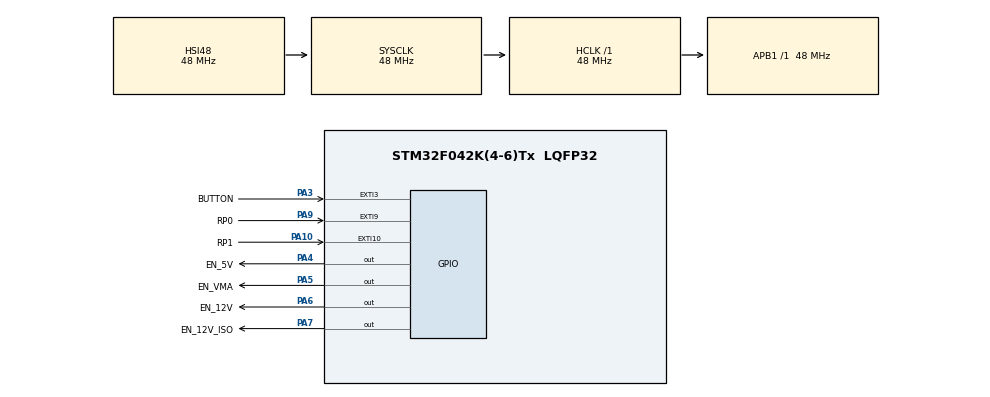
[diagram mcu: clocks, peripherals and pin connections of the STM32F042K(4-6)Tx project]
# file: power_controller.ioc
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Mcu.Family=STM32F0
Mcu.Name=STM32F042K(4-6)Tx
Mcu.Package=LQFP32
NVIC.EXTI2_3_IRQn=true\:0\:0\:false\:false\:true\:true\:true\:true
PA10.GPIO_Label=RP1
PA10.Signal=GPXTI10
PA13.Mode=Serial_Wire
PA13.Signal=SYS_SWDIO
PA14.Mode=Serial_Wire
PA14.Signal=SYS_SWCLK
PA3.GPIO_Label=BUTTON
PA3.Signal=GPXTI3
PA4.GPIO_Label=EN_5V
PA4.Signal=GPIO_Output
PA5.GPIO_Label=EN_VMA
PA5.Signal=GPIO_Output
PA6.GPIO_Label=EN_12V
PA6.Signal=GPIO_Output
PA7.GPIO_Label=EN_12V_ISO
PA7.Signal=GPIO_Output
PA9.GPIO_Label=RP0
PA9.Signal=GPXTI9
PF0-OSC_IN.Mode=HSE-External-Oscillator
PF0-OSC_IN.Signal=RCC_OSC_IN
PF1-OSC_OUT.Mode=HSE-External-Oscillator
PF1-OSC_OUT.Signal=RCC_OSC_OUT
ProjectManager.HeapSize=0x200
ProjectManager.StackSize=0x400
ProjectManager.TargetToolchain=STM32CubeIDE
RCC.AHBFreq_Value=48000000
RCC.APB1Freq_Value=48000000
RCC.APB1TimFreq_Value=48000000
RCC.HCLKFreq_Value=48000000
RCC.PLLSourceVirtual=RCC_PLLSOURCE_HSE
RCC.SYSCLKFreq_VALUE=48000000
RCC.SYSCLKSource=RCC_SYSCLKSOURCE_HSI48
board=custom

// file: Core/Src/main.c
/* USER CODE BEGIN Header */
/**
  ******************************************************************************
  * @file           : main.c
  * @brief          : Main program body
  ******************************************************************************
  * @attention
  *
  * Copyright (c) 2023 STMicroelectronics.
  * All rights reserved.
  *
  * This software is licensed under terms that can be found in the LICENSE file
  * in the root directory of this software component.
  * If no LICENSE file comes with this software, it is provided AS-IS.
  *
  ******************************************************************************
  */
/* USER CODE END Header */
#include "main.h"

/* USER CODE BEGIN Includes */
#include <stdbool.h>
/* USER CODE END Includes */

/* USER CODE BEGIN PV */
 bool button_flag = false;
/* USER CODE END PV */

void SystemClock_Config(void);
static void MX_GPIO_Init(void);
/* USER CODE BEGIN PFP */
void Power_State_Machine(void);
/* USER CODE END PFP */

/* USER CODE BEGIN 0 */
//struct states{
//static const uint8_t STATE_1; // default state, all peripheral is off except thrusters controller
//static const uint8_t STATE_2; // 5V and 22V ENABLE
//static const uint8_t STATE_3; // 12V ENABLE
//static const uint8_t STATE_4; // 22V ENABLE
//static const uint8_t STATE_5; // RESET (go to STATE_1 for 5s then return to previous state
//};
/* USER CODE END 0 */

int main(void)
{

  /* MCU Configuration--------------------------------------------------------*/

  /* Reset of all peripherals, Initializes the Flash interface and the Systick. */
  HAL_Init();

  /* Configure the system clock */
  SystemClock_Config();

  /* Initialize all configured peripherals */
  MX_GPIO_Init();

  /* Infinite loop */
  while (1)
  {
	 // HAL_GPIO_WritePin(GPIOA,EN_VMA_Pin, GPIO_PIN_SET);
	  HAL_GPIO_WritePin(GPIOA,EN_5V_Pin, GPIO_PIN_SET);

    /* USER CODE BEGIN 3 */
	  HAL_UART_Receive(&huart2, (uint8_t*)bufferRx, 6, 10); //принимаем сообщение
	        if((bufferRx[0] == 0xff) && (bufferRx[1] == 0xfD))
	       	  rxFlag = 1;
	        while(bufferRx[0]!= 0xff || bufferRx[1]!= 0xfD){ //проверяем соответсвует ли посылка
	        			HAL_UART_Receive(&huart2, (uint8_t*)bufferRx, 6, 10);//принимаем сообщение еще раз
	        		}

	  	//  if (huart2.RxXferCount == 0){
	  	  if(rxFlag){

	  		  rxFlag = 0;
	  		  if(check_crc(bufferRx, MAX_SIZE)){ //если crc совпало

	  			  data[0] =  (bufferRx[3] << 8) | (bufferRx[2] & 0xff);
	  			  switch(data[0]){
	  			  case 0:
	  				  break;
	  			  case 1:
	  				  HAL_GPIO_WritePin(GPIOA, EN_5V_Pin, GPIO_PIN_SET);
	  				  break;
	  			  case 2:
	  				  HAL_GPIO_WritePin(GPIOA, EN_5V_Pin, GPIO_PIN_SET);
	  				  HAL_GPIO_WritePin(GPIOA, EN_12V_Pin, GPIO_PIN_SET);
	  				  HAL_GPIO_WritePin(GPIOA, EN_12V_ISO_Pin, GPIO_PIN_SET);
	  				  break;
	  			  case 3:
	  				  HAL_GPIO_WritePin(GPIOA, EN_5V_Pin, GPIO_PIN_SET);
	  				  HAL_GPIO_WritePin(GPIOA, EN_12V_Pin, GPIO_PIN_SET);
	  				  HAL_GPIO_WritePin(GPIOA, EN_12V_ISO_Pin, GPIO_PIN_SET);
	  				  HAL_GPIO_WritePin(GPIOA, EN_VMA_Pin, GPIO_PIN_SET);
	  				  break;
	  			  case 4:
	  				  HAL_GPIO_WritePin(GPIOA, EN_5V_Pin, GPIO_PIN_RESET);
	  				  HAL_GPIO_WritePin(GPIOA, EN_12V_Pin, GPIO_PIN_RESET);
	  				  HAL_GPIO_WritePin(GPIOA, EN_12V_ISO_Pin, GPIO_PIN_RESET);
	  				  HAL_GPIO_WritePin(GPIOA, EN_VMA_Pin, GPIO_PIN_RESET);
	  				  break;
	  			  }

	  		  }
	  		  else{
	  			//  HAL_GPIO_WritePin(LD8_GPIO_Port, LD8_Pin, GPIO_PIN_RESET); //индикация о ошибке приема
	  		  }

	  	  }

	    }
  /* USER CODE END 3 */
}

void SystemClock_Config(void)
{
  RCC_OscInitTypeDef RCC_OscInitStruct = {0};
  RCC_ClkInitTypeDef RCC_ClkInitStruct = {0};

  /** Initializes the RCC Oscillators according to the specified parameters
  * in the RCC_OscInitTypeDef structure.
  */
  RCC_OscInitStruct.OscillatorType = RCC_OSCILLATORTYPE_HSI48;
  RCC_OscInitStruct.HSI48State = RCC_HSI48_ON;
  RCC_OscInitStruct.PLL.PLLState = RCC_PLL_NONE;
  if (HAL_RCC_OscConfig(&RCC_OscInitStruct) != HAL_OK)
  {
    Error_Handler();
  }

  /** Initializes the CPU, AHB and APB buses clocks
  */
  RCC_ClkInitStruct.ClockType = RCC_CLOCKTYPE_HCLK|RCC_CLOCKTYPE_SYSCLK
                              |RCC_CLOCKTYPE_PCLK1;
  RCC_ClkInitStruct.SYSCLKSource = RCC_SYSCLKSOURCE_HSI48;
  RCC_ClkInitStruct.AHBCLKDivider = RCC_SYSCLK_DIV1;
  RCC_ClkInitStruct.APB1CLKDivider = RCC_HCLK_DIV1;

  if (HAL_RCC_ClockConfig(&RCC_ClkInitStruct, FLASH_LATENCY_1) != HAL_OK)
  {
    Error_Handler();
  }
}

static void MX_GPIO_Init(void)
{
  GPIO_InitTypeDef GPIO_InitStruct = {0};

  /* GPIO Ports Clock Enable */
  __HAL_RCC_GPIOF_CLK_ENABLE();
  __HAL_RCC_GPIOA_CLK_ENABLE();

  /*Configure GPIO pin Output Level */
  HAL_GPIO_WritePin(GPIOA, EN_5V_Pin|EN_VMA_Pin|EN_12V_Pin|EN_12V_ISO_Pin, GPIO_PIN_RESET);

  /*Configure GPIO pins : BUTTON_Pin RP0_Pin RP1_Pin */
  GPIO_InitStruct.Pin = BUTTON_Pin|RP0_Pin|RP1_Pin;
  GPIO_InitStruct.Mode = GPIO_MODE_IT_RISING;
  GPIO_InitStruct.Pull = GPIO_NOPULL;
  HAL_GPIO_Init(GPIOA, &GPIO_InitStruct);

  /*Configure GPIO pins : EN_5V_Pin EN_VMA_Pin EN_12V_Pin EN_12V_ISO_Pin */
  GPIO_InitStruct.Pin = EN_5V_Pin|EN_VMA_Pin|EN_12V_Pin|EN_12V_ISO_Pin;
  GPIO_InitStruct.Mode = GPIO_MODE_OUTPUT_PP;
  GPIO_InitStruct.Pull = GPIO_NOPULL;
  GPIO_InitStruct.Speed = GPIO_SPEED_FREQ_LOW;
  HAL_GPIO_Init(GPIOA, &GPIO_InitStruct);

  /* EXTI interrupt init*/
  HAL_NVIC_SetPriority(EXTI2_3_IRQn, 0, 0);
  HAL_NVIC_EnableIRQ(EXTI2_3_IRQn);

}

/* USER CODE BEGIN 4 */
void Power_State_Machine(void){
	 if(button_flag){
		 HAL_GPIO_WritePin(GPIOA,EN_VMA_Pin, GPIO_PIN_SET);
		 button_flag = false;
	 }
	 else
		 HAL_GPIO_WritePin(GPIOA,EN_VMA_Pin, GPIO_PIN_RESET);

}

void HAL_GPIO_EXTI_Callback(uint16_t GPIO_Pin)
{
   if(GPIO_Pin == BUTTON_Pin)
   {
      button_flag = true;
   }
}
/* USER CODE END 4 */

void Error_Handler(void)
{
  __disable_irq();
  while (1)
  {
  }
}
